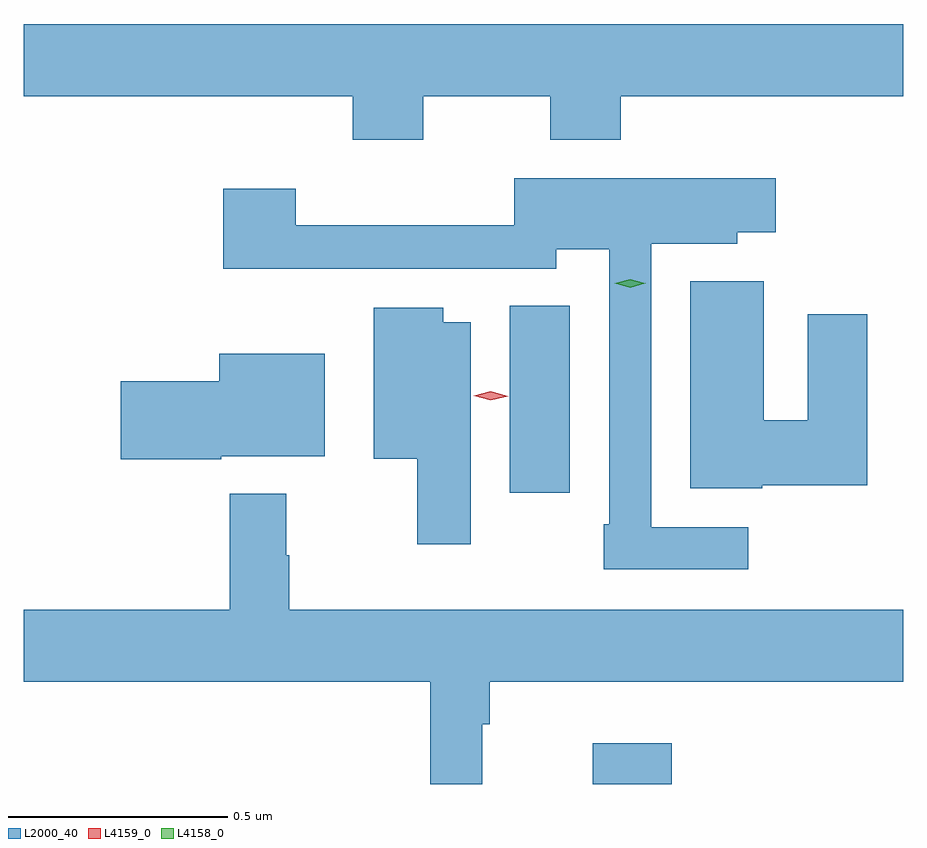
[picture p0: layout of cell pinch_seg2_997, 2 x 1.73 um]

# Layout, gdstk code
import gdstk
lib = gdstk.Library(unit=1e-6, precision=1e-09)
def R(c, l, rs):  # rectangles x0, y0, x1, y1
    for r in rs: c.add(gdstk.rectangle(r[:2], r[2:], *l))
def P(c, l, *ps):  # polygons
    for p in ps: c.add(gdstk.Polygon(p, *l))
L2000_40 = (2000, 40)
L4158_0 = (4158, 0)
L4159_0 = (4159, 0)

pinch_seg2_997 = lib.new_cell('pinch_seg2_997')
R(pinch_seg2_997, L2000_40, [(312.059,628.756,312.238,628.849), (311.87,629.418,312.007,629.843)])
P(pinch_seg2_997, L2000_40, [(311.673,630.32),(311.962,630.32),(311.962,630.221),(312.122,630.221),(312.122,630.32),(312.765,630.32),(312.765,630.484),(310.765,630.484),(310.765,630.32),(311.513,630.32),(311.513,630.221),(311.673,630.221)],
  [(312.412,629.34),(312.192,629.34),(312.192,629.984),(312.387,629.984),(312.387,630.011),(312.475,630.011),(312.475,630.133),(311.88,630.133),(311.88,630.026),(311.384,630.026),(311.384,630.109),(311.219,630.109),(311.219,629.927),(311.465,629.927),(311.465,629.928),(311.976,629.928),(311.976,629.972),(312.096,629.972),(312.096,629.347),(312.084,629.347),(312.084,629.244),(312.412,629.244)],
  [(312.444,629.435),(312.683,629.435),(312.683,629.824),(312.548,629.824),(312.548,629.583),(312.448,629.583),(312.448,629.899),(312.281,629.899),(312.281,629.429),(312.444,629.429)],
  [(311.782,629.806),(311.719,629.806),(311.719,629.839),(311.561,629.839),(311.561,629.495),(311.66,629.495),(311.66,629.301),(311.782,629.301)],
  [(311.214,629.501),(311.449,629.501),(311.449,629.734),(311.21,629.734),(311.21,629.672),(310.986,629.672),(310.986,629.494),(311.214,629.494)],
  [(311.808,628.892),(311.825,628.892),(311.825,628.988),(312.765,628.988),(312.765,629.152),(311.369,629.152),(311.369,629.276),(311.362,629.276),(311.362,629.416),(311.234,629.416),(311.234,629.152),(310.765,629.152),(310.765,628.988),(311.689,628.988),(311.689,628.756),(311.808,628.756)])
P(pinch_seg2_997, L4158_0, [(312.144,629.884),(312.109,629.894),(312.109,629.894),(312.109,629.894),(312.144,629.904),(312.178,629.894),(312.179,629.894),(312.178,629.894)])
P(pinch_seg2_997, L4159_0, [(311.827,629.629),(311.788,629.639),(311.787,629.639),(311.788,629.639),(311.827,629.649),(311.867,629.638),(311.867,629.638),(311.867,629.638)])

lib.write_gds('pinch_seg2_997.gds')
